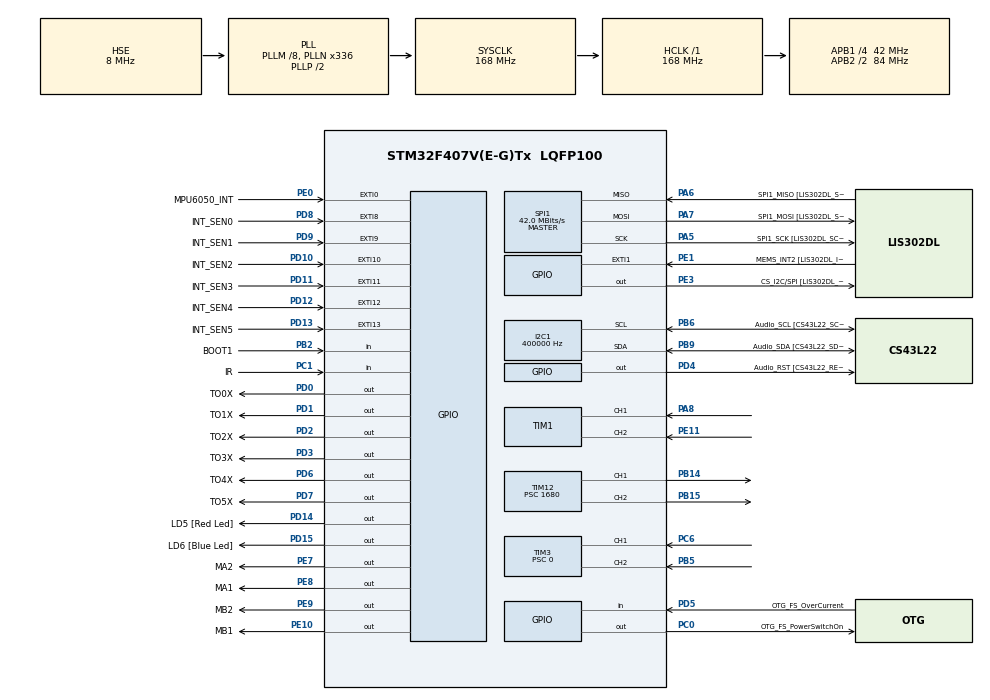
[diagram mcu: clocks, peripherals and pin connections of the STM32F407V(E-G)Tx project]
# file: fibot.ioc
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I2C1.ClockSpeed=400000
I2C1.I2C_Mode=I2C_Fast
Mcu.Family=STM32F4
Mcu.Name=STM32F407V(E-G)Tx
Mcu.Package=LQFP100
NVIC.EXTI0_IRQn=true\:0\:0\:true\:false\:true\:true\:true\:true
NVIC.EXTI15_10_IRQn=true\:0\:0\:false\:false\:true\:true\:true\:true
NVIC.EXTI9_5_IRQn=true\:0\:0\:false\:false\:true\:true\:true\:true
NVIC.PriorityGroup=NVIC_PRIORITYGROUP_0
PA1.Signal=S_TIM2_CH2
PA10.GPIO_Label=OTG_FS_ID
PA10.GPIO_Mode=GPIO_MODE_AF_PP
PA10.GPIO_PuPd=GPIO_NOPULL
PA10.GPIO_Speed=GPIO_SPEED_FREQ_LOW
PA10.Signal=USB_OTG_FS_ID
PA11.GPIO_Label=OTG_FS_DM
PA11.GPIO_Mode=GPIO_MODE_AF_PP
PA11.GPIO_PuPd=GPIO_NOPULL
PA11.GPIO_Speed=GPIO_SPEED_FREQ_LOW
PA11.Signal=USB_OTG_FS_DM
PA12.GPIO_Label=OTG_FS_DP
PA12.GPIO_Mode=GPIO_MODE_AF_PP
PA12.GPIO_PuPd=GPIO_NOPULL
PA12.GPIO_Speed=GPIO_SPEED_FREQ_LOW
PA12.Signal=USB_OTG_FS_DP
PA13.GPIO_Label=SWDIO
PA13.Mode=Serial_Wire
PA13.Signal=SYS_JTMS-SWDIO
PA14.GPIO_Label=SWCLK
PA14.Mode=Serial_Wire
PA14.Signal=SYS_JTCK-SWCLK
PA15.Signal=S_TIM2_CH1_ETR
PA4.GPIO_Label=I2S3_WS [CS43L22_LRCK]
PA4.GPIO_Mode=GPIO_MODE_AF_PP
PA4.GPIO_PuPd=GPIO_NOPULL
PA4.GPIO_Speed=GPIO_SPEED_FREQ_LOW
PA4.Signal=I2S3_WS
PA5.GPIO_Label=SPI1_SCK [LIS302DL_SCL/SPC]
PA5.GPIO_Mode=GPIO_MODE_AF_PP
PA5.GPIO_PuPd=GPIO_NOPULL
PA5.GPIO_Speed=GPIO_SPEED_FREQ_LOW
PA5.Mode=Full_Duplex_Master
PA5.Signal=SPI1_SCK
PA6.GPIO_Label=SPI1_MISO [LIS302DL_SDO]
PA6.GPIO_Mode=GPIO_MODE_AF_PP
PA6.GPIO_PuPd=GPIO_NOPULL
PA6.GPIO_Speed=GPIO_SPEED_FREQ_LOW
PA6.Mode=Full_Duplex_Master
PA6.Signal=SPI1_MISO
PA7.GPIO_Label=SPI1_MOSI [LIS302DL_SDA/SDI/SDO]
PA7.GPIO_Mode=GPIO_MODE_AF_PP
PA7.GPIO_PuPd=GPIO_NOPULL
PA7.GPIO_Speed=GPIO_SPEED_FREQ_LOW
PA7.Mode=Full_Duplex_Master
PA7.Signal=SPI1_MOSI
PA8.Signal=S_TIM1_CH1
PA9.GPIO_Label=VBUS_FS
PA9.GPIO_Mode=GPIO_MODE_INPUT
PA9.GPIO_PuPd=GPIO_NOPULL
PA9.Signal=USB_OTG_FS_VBUS
PB0.Signal=S_TIM3_CH3
PB1.Signal=S_TIM3_CH4
PB10.GPIO_Label=CLK_IN [MP45DT02_CLK]
PB10.GPIO_Mode=GPIO_MODE_AF_PP
PB10.GPIO_PuPd=GPIO_NOPULL
PB10.GPIO_Speed=GPIO_SPEED_FREQ_LOW
PB10.Signal=I2S2_CK
PB14.Signal=S_TIM12_CH1
PB15.Signal=S_TIM12_CH2
PB2.GPIO_Label=BOOT1
PB2.GPIO_Mode=GPIO_MODE_INPUT
PB2.GPIO_PuPd=GPIO_NOPULL
PB2.Signal=GPIO_Input
PB3.GPIO_Label=SWO
PB3.Signal=SYS_JTDO-SWO
PB5.Signal=S_TIM3_CH2
PB6.GPIO_Label=Audio_SCL [CS43L22_SCL]
PB6.GPIO_Mode=GPIO_MODE_AF_OD
PB6.GPIO_Pu=GPIO_PULLUP
PB6.GPIO_PuPd=GPIO_NOPULL
PB6.GPIO_Speed=GPIO_SPEED_FREQ_LOW
PB6.Mode=I2C
PB6.Signal=I2C1_SCL
PB9.GPIO_Label=Audio_SDA [CS43L22_SDA]
PB9.GPIO_Mode=GPIO_MODE_AF_OD
PB9.GPIO_Pu=GPIO_PULLUP
PB9.GPIO_PuPd=GPIO_NOPULL
PB9.GPIO_Speed=GPIO_SPEED_FREQ_LOW
PB9.Mode=I2C
PB9.Signal=I2C1_SDA
PC0.GPIO_Label=OTG_FS_PowerSwitchOn
PC0.GPIO_PuPd=GPIO_NOPULL
PC0.GPIO_Speed=GPIO_SPEED_FREQ_LOW
PC0.PinState=GPIO_PIN_SET
PC0.Signal=GPIO_Output
PC1.GPIO_Label=IR
PC1.Signal=GPIO_Input
PC10.GPIO_Label=I2S3_SCK [CS43L22_SCLK]
PC10.GPIO_Mode=GPIO_MODE_AF_PP
PC10.GPIO_PuPd=GPIO_NOPULL
PC10.GPIO_Speed=GPIO_SPEED_FREQ_LOW
PC10.Signal=I2S3_CK
PC12.GPIO_Label=I2S3_SD [CS43L22_SDIN]
PC12.GPIO_Mode=GPIO_MODE_AF_PP
PC12.GPIO_PuPd=GPIO_NOPULL
PC12.GPIO_Speed=GPIO_SPEED_FREQ_LOW
PC12.Signal=I2S3_SD
PC14-OSC32_IN.GPIO_Label=PC14-OSC32_IN
PC14-OSC32_IN.Signal=RCC_OSC32_IN
PC15-OSC32_OUT.GPIO_Label=PC15-OSC32_OUT
PC15-OSC32_OUT.Signal=RCC_OSC32_OUT
PC3.GPIO_Label=PDM_OUT [MP45DT02_DOUT]
PC3.GPIO_Mode=GPIO_MODE_AF_PP
PC3.GPIO_PuPd=GPIO_NOPULL
PC3.GPIO_Speed=GPIO_SPEED_FREQ_LOW
PC3.Signal=I2S2_SD
PC6.Signal=S_TIM3_CH1
PC7.GPIO_Label=I2S3_MCK [CS43L22_MCLK]
PC7.GPIO_Mode=GPIO_MODE_AF_PP
PC7.GPIO_PuPd=GPIO_NOPULL
PC7.GPIO_Speed=GPIO_SPEED_FREQ_LOW
PC7.Signal=I2S3_MCK
PD0.GPIO_Label=TO0X
PD0.GPIO_ModeDefaultOutputPP=GPIO_MODE_OUTPUT_OD
PD0.GPIO_PuPd=GPIO_NOPULL
PD0.PinState=GPIO_PIN_RESET
PD0.Signal=GPIO_Output
PD1.GPIO_Label=TO1X
PD1.GPIO_ModeDefaultOutputPP=GPIO_MODE_OUTPUT_OD
PD1.GPIO_PuPd=GPIO_NOPULL
PD1.PinState=GPIO_PIN_RESET
PD1.Signal=GPIO_Output
PD10.GPIO_Label=INT_SEN2
PD10.GPIO_ModeDefaultEXTI=GPIO_MODE_IT_FALLING
PD10.GPIO_PuPd=GPIO_PULLUP
PD10.Signal=GPXTI10
PD11.GPIO_Label=INT_SEN3
PD11.GPIO_ModeDefaultEXTI=GPIO_MODE_IT_FALLING
PD11.GPIO_PuPd=GPIO_PULLUP
PD11.Signal=GPXTI11
PD12.GPIO_Label=INT_SEN4
PD12.GPIO_ModeDefaultEXTI=GPIO_MODE_IT_FALLING
PD12.GPIO_PuPd=GPIO_PULLUP
PD12.Signal=GPXTI12
PD13.GPIO_Label=INT_SEN5
PD13.GPIO_ModeDefaultEXTI=GPIO_MODE_IT_FALLING
PD13.GPIO_PuPd=GPIO_PULLUP
PD13.Signal=GPXTI13
PD14.GPIO_Label=LD5 [Red Led]
PD14.GPIO_PuPd=GPIO_NOPULL
PD14.GPIO_Speed=GPIO_SPEED_FREQ_LOW
PD14.Signal=GPIO_Output
PD15.GPIO_Label=LD6 [Blue Led]
PD15.GPIO_PuPd=GPIO_NOPULL
PD15.GPIO_Speed=GPIO_SPEED_FREQ_LOW
PD15.Signal=GPIO_Output
PD2.GPIO_Label=TO2X
PD2.GPIO_ModeDefaultOutputPP=GPIO_MODE_OUTPUT_OD
PD2.GPIO_PuPd=GPIO_NOPULL
PD2.PinState=GPIO_PIN_RESET
PD2.Signal=GPIO_Output
PD3.GPIO_Label=TO3X
PD3.GPIO_ModeDefaultOutputPP=GPIO_MODE_OUTPUT_OD
PD3.GPIO_PuPd=GPIO_NOPULL
PD3.PinState=GPIO_PIN_RESET
PD3.Signal=GPIO_Output
PD4.GPIO_Label=Audio_RST [CS43L22_RESET]
PD4.GPIO_PuPd=GPIO_NOPULL
PD4.GPIO_Speed=GPIO_SPEED_FREQ_LOW
PD4.Signal=GPIO_Output
PD5.GPIO_Label=OTG_FS_OverCurrent
PD5.GPIO_Mode=GPIO_MODE_INPUT
PD5.GPIO_PuPd=GPIO_NOPULL
PD5.Signal=GPIO_Input
PD6.GPIO_Label=TO4X
PD6.GPIO_ModeDefaultOutputPP=GPIO_MODE_OUTPUT_OD
PD6.GPIO_PuPd=GPIO_NOPULL
PD6.PinState=GPIO_PIN_RESET
PD6.Signal=GPIO_Output
PD7.GPIO_Label=TO5X
PD7.GPIO_ModeDefaultOutputPP=GPIO_MODE_OUTPUT_OD
PD7.GPIO_PuPd=GPIO_NOPULL
PD7.PinState=GPIO_PIN_RESET
PD7.Signal=GPIO_Output
PD8.GPIO_Label=INT_SEN0
PD8.GPIO_ModeDefaultEXTI=GPIO_MODE_IT_FALLING
PD8.GPIO_PuPd=GPIO_PULLUP
PD8.Signal=GPXTI8
PD9.GPIO_Label=INT_SEN1
PD9.GPIO_ModeDefaultEXTI=GPIO_MODE_IT_FALLING
PD9.GPIO_PuPd=GPIO_PULLUP
PD9.Signal=GPXTI9
PE0.GPIO_Label=MPU6050_INT
PE0.GPIO_ModeDefaultEXTI=GPIO_MODE_IT_FALLING
PE0.GPIO_PuPd=GPIO_PULLUP
PE0.Signal=GPXTI0
PE1.GPIO_Label=MEMS_INT2 [LIS302DL_INT2]
PE1.GPIO_ModeDefaultEXTI=GPIO_MODE_EVT_RISING
PE1.GPIO_PuPd=GPIO_NOPULL
PE1.Signal=GPXTI1
PE10.GPIO_Label=MB1
PE10.Signal=GPIO_Output
PE11.Signal=S_TIM1_CH2
PE3.GPIO_Label=CS_I2C/SPI [LIS302DL_CS_I2C/SPI]
PE3.GPIO_PuPd=GPIO_NOPULL
PE3.GPIO_Speed=GPIO_SPEED_FREQ_LOW
PE3.Signal=GPIO_Output
PE7.GPIO_Label=MA2
PE7.Signal=GPIO_Output
PE8.GPIO_Label=MA1
PE8.Signal=GPIO_Output
PE9.GPIO_Label=MB2
PE9.Signal=GPIO_Output
PH0-OSC_IN.GPIO_Label=PH0-OSC_IN
PH0-OSC_IN.Mode=HSE-External-Oscillator
PH0-OSC_IN.Signal=RCC_OSC_IN
PH1-OSC_OUT.GPIO_Label=PH1-OSC_OUT
PH1-OSC_OUT.Mode=HSE-External-Oscillator
PH1-OSC_OUT.Signal=RCC_OSC_OUT
ProjectManager.HeapSize=0x200
ProjectManager.StackSize=0x400
ProjectManager.TargetToolchain=Makefile
RCC.48MHZClocksFreq_Value=48000000
RCC.AHBFreq_Value=168000000
RCC.APB1CLKDivider=RCC_HCLK_DIV4
RCC.APB1Freq_Value=42000000
RCC.APB1TimFreq_Value=84000000
RCC.APB2CLKDivider=RCC_HCLK_DIV2
RCC.APB2Freq_Value=84000000
RCC.APB2TimFreq_Value=168000000
RCC.CortexFreq_Value=168000000
RCC.HCLKFreq_Value=168000000
RCC.HSE_VALUE=8000000
RCC.HSI_VALUE=16000000
RCC.LSE_VALUE=32768
RCC.PLLM=8
RCC.PLLN=336
RCC.PLLQ=7
RCC.PLLSourceVirtual=RCC_PLLSOURCE_HSE
RCC.SYSCLKFreq_VALUE=168000000
RCC.SYSCLKSource=RCC_SYSCLKSOURCE_PLLCLK
RCC.VCOOutputFreq_Value=336000000
SH.S_TIM12_CH1.0=TIM12_CH1,PWM Generation1 CH1
SH.S_TIM12_CH2.0=TIM12_CH2,PWM Generation2 CH2
SH.S_TIM1_CH1.0=TIM1_CH1,Encoder_Interface
SH.S_TIM1_CH2.0=TIM1_CH2,Encoder_Interface
SH.S_TIM2_CH1_ETR.0=TIM2_CH1
SH.S_TIM2_CH2.0=TIM2_CH2
SH.S_TIM3_CH1.0=TIM3_CH1,Encoder_Interface
SH.S_TIM3_CH2.0=TIM3_CH2,Encoder_Interface
SH.S_TIM3_CH3.0=TIM3_CH3
SH.S_TIM3_CH4.0=TIM3_CH4
SPI1.BaudRatePrescaler=SPI_BAUDRATEPRESCALER_2
SPI1.BaudRatePrescaler-Full_Duplex_Master=SPI_BAUDRATEPRESCALER_2
SPI1.CalculateBaudRate=42.0 MBits/s
SPI1.CalculateBaudRate-Full_Duplex_Master=42.0 MBits/s
SPI1.Direction=SPI_DIRECTION_2LINES
SPI1.Mode=SPI_MODE_MASTER
SPI1.Mode-Full_Duplex_Master=SPI_MODE_MASTER
SPI1.VirtualType=VM_MASTER
TIM1.AutoReloadPreload=TIM_AUTORELOAD_PRELOAD_ENABLE
TIM1.EncoderMode=TIM_ENCODERMODE_TI12
TIM1.IC1Filter=10
TIM1.IC2Filter=10
TIM12.AutoReloadPreload=TIM_AUTORELOAD_PRELOAD_ENABLE
TIM12.Channel-PWM\ Generation1\ CH1=TIM_CHANNEL_1
TIM12.Channel-PWM\ Generation2\ CH2=TIM_CHANNEL_2
TIM12.ClockDivision=TIM_CLOCKDIVISION_DIV4
TIM12.Period=100
TIM12.Prescaler=1680
TIM3.AutoReloadPreload=TIM_AUTORELOAD_PRELOAD_ENABLE
TIM3.ClockDivision=TIM_CLOCKDIVISION_DIV1
TIM3.EncoderMode=TIM_ENCODERMODE_TI12
TIM3.IC1Filter=10
TIM3.IC2Filter=10
TIM3.Period=65535
TIM3.Prescaler=0
VP_TIM12_VS_ClockSourceINT.Mode=Internal
board=STM32F407G-DISC1

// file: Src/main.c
/* USER CODE BEGIN Header */
/**
  ******************************************************************************
  * @file           : main.c
  * @brief          : Main program body
  ******************************************************************************
  * @attention
  *
  * Copyright (c) 2023 STMicroelectronics.
  * All rights reserved.
  *
  * This software is licensed under terms that can be found in the LICENSE file
  * in the root directory of this software component.
  * If no LICENSE file comes with this software, it is provided AS-IS.
  *
  ******************************************************************************
  */
/* USER CODE END Header */
#include "main.h"
#include "i2c.h"
#include "spi.h"
#include "tim.h"
#include "gpio.h"

/* USER CODE BEGIN Includes */
#include "mpu6050.h"
#include <math.h>

/* USER CODE END Includes */

void SystemClock_Config(void);

/* USER CODE BEGIN 0 */

VL53L0X_Error WaitMeasurementDataReady(VL53L0X_DEV Dev) {
    VL53L0X_Error Status = VL53L0X_ERROR_NONE;
    uint8_t NewDatReady=0;
    uint32_t LoopNb;

    // Wait until it finished
    // use timeout to avoid deadlock
    if (Status == VL53L0X_ERROR_NONE) {
        LoopNb = 0;
        do {
            Status = VL53L0X_GetMeasurementDataReady(Dev, &NewDatReady);
            if ((NewDatReady == 0x01) || Status != VL53L0X_ERROR_NONE) {
                break;
            }
            LoopNb = LoopNb + 1;
            VL53L0X_PollingDelay(Dev);
        } while (LoopNb < VL53L0X_DEFAULT_MAX_LOOP);

        if (LoopNb >= VL53L0X_DEFAULT_MAX_LOOP) {
            Status = VL53L0X_ERROR_TIME_OUT;
        }
    }

    return Status;
}

VL53L0X_Error WaitStopCompleted(VL53L0X_DEV Dev) {
    VL53L0X_Error Status = VL53L0X_ERROR_NONE;
    uint32_t StopCompleted=0;
    uint32_t LoopNb;

    // Wait until it finished
    // use timeout to avoid deadlock
    if (Status == VL53L0X_ERROR_NONE) {
        LoopNb = 0;
        do {
            Status = VL53L0X_GetStopCompletedStatus(Dev, &StopCompleted);
            if ((StopCompleted == 0x00) || Status != VL53L0X_ERROR_NONE) {
                break;
            }
            LoopNb = LoopNb + 1;
            VL53L0X_PollingDelay(Dev);
        } while (LoopNb < VL53L0X_DEFAULT_MAX_LOOP);

        if (LoopNb >= VL53L0X_DEFAULT_MAX_LOOP) {
            Status = VL53L0X_ERROR_TIME_OUT;
        }

    }

    return Status;
}

void tofHighSpeedProfile(VL53L0X_Dev_t *dev)
{
	VL53L0X_Error Status;
	Status = VL53L0X_SetLimitCheckValue(dev,
	VL53L0X_CHECKENABLE_SIGNAL_RATE_FINAL_RANGE,
	(FixPoint1616_t)(0.25*65536));
	assert_param(Status == VL53L0X_ERROR_NONE);

	Status = VL53L0X_SetLimitCheckValue(dev,
	VL53L0X_CHECKENABLE_SIGMA_FINAL_RANGE,
	(FixPoint1616_t)(32*65536));
	assert_param(Status == VL53L0X_ERROR_NONE);

	Status = VL53L0X_SetMeasurementTimingBudgetMicroSeconds(dev, 20000);
	assert_param(Status == VL53L0X_ERROR_NONE);
}

VL53L0X_Error tof_setup_start(VL53L0X_Dev_t *dev, VL53L0X_DeviceModes mode)
{
    uint8_t VhvSettings;
    uint8_t PhaseCal;
    uint32_t refSpadCount;
    uint8_t isApertureSpads;

	VL53L0X_DeviceInfo_t info;
	uint16_t vl53l0x_id;
	VL53L0X_Error Status = VL53L0X_ERROR_NONE;

	assert_param(HAL_I2C_IsDeviceReady(&hi2c1, dev->I2cDevAddr, 2, 2) == HAL_OK);

	Status = VL53L0X_GetDeviceInfo(dev, &info);
    assert_param(Status == VL53L0X_ERROR_NONE);

	Status = VL53L0X_RdWord(dev, VL53L0X_REG_IDENTIFICATION_MODEL_ID, (uint16_t *) &vl53l0x_id);
    assert_param(Status == VL53L0X_ERROR_NONE);
    assert_param(vl53l0x_id == 0xEEAA);

	Status = VL53L0X_DataInit(dev);
	assert_param(Status == VL53L0X_ERROR_NONE);

	// StaticInit will set interrupt by default
	Status = VL53L0X_StaticInit(dev); // Device Initialization
    assert_param(Status == VL53L0X_ERROR_NONE);

	Status = VL53L0X_PerformRefCalibration(dev,
			&VhvSettings, &PhaseCal);
    assert_param(Status == VL53L0X_ERROR_NONE);

	Status = VL53L0X_PerformRefSpadManagement(dev,
			&refSpadCount, &isApertureSpads);
    assert_param(Status == VL53L0X_ERROR_NONE);

	Status = VL53L0X_SetDeviceMode(dev, mode); // Setup in single ranging mode
    assert_param(Status == VL53L0X_ERROR_NONE);

	//tofHighSpeedProfile(dev);

	Status = VL53L0X_StartMeasurement(dev);
    assert_param(Status == VL53L0X_ERROR_NONE);
}

void tof_getData(VL53L0X_Dev_t *dev, VL53L0X_RangingMeasurementData_t   *data)
{
	VL53L0X_Error Status = VL53L0X_GetRangingMeasurementData(dev, data);
	assert_param(Status == VL53L0X_ERROR_NONE);

	// Clear the interrupt
	VL53L0X_ClearInterruptMask(dev, VL53L0X_REG_SYSTEM_INTERRUPT_GPIO_NEW_SAMPLE_READY);
}

void wait_getData(VL53L0X_Dev_t *dev, VL53L0X_RangingMeasurementData_t   *data) {
    VL53L0X_Error Status = WaitMeasurementDataReady(dev);
	assert_param(Status == VL53L0X_ERROR_NONE);

	tof_getData(dev, data);
}

VL53L0X_Error rangingTest(VL53L0X_Dev_t *dev)
{
    VL53L0X_RangingMeasurementData_t    data;
    VL53L0X_Error Status = VL53L0X_ERROR_NONE;

	tof_setup_start(dev, VL53L0X_DEVICEMODE_CONTINUOUS_RANGING);

	while (1) {
		wait_getData(dev, &data);
		VL53L0X_PollingDelay(dev);
		HAL_Delay(100);
	}

	Status = VL53L0X_StopMeasurement(dev);
	assert_param(Status == VL53L0X_ERROR_NONE);

	Status = WaitStopCompleted(dev);
	assert_param(Status == VL53L0X_ERROR_NONE);

	Status = VL53L0X_ClearInterruptMask(dev,
			VL53L0X_REG_SYSTEM_INTERRUPT_GPIO_NEW_SAMPLE_READY);
	assert_param(Status == VL53L0X_ERROR_NONE);

	return Status;
}

/*
1 0x52
2 0x54
3 0x56
4 0x58
5 0x5A
6 0x5C
*/

const uint16_t tofXpin[] = {
	TO0X_Pin,
	TO1X_Pin,
	TO2X_Pin,
	TO3X_Pin,
	TO4X_Pin,
	TO5X_Pin
};

const GPIO_TypeDef * tofXport[] = {
	TO0X_GPIO_Port,
	TO1X_GPIO_Port,
	TO2X_GPIO_Port,
	TO3X_GPIO_Port,
	TO4X_GPIO_Port,
	TO5X_GPIO_Port
};

const uint8_t addrs[] = {
	0x52,
	0x54,
	0x56,
	0x58,
	0x5A,
	0x5C
};

VL53L0X_Dev_t devs[] = {
	{.I2cDevAddr = addrs[0], .hi2c = &hi2c1},
	{.I2cDevAddr = addrs[1], .hi2c = &hi2c1},
	{.I2cDevAddr = addrs[2], .hi2c = &hi2c1},
	{.I2cDevAddr = addrs[3], .hi2c = &hi2c1},
	{.I2cDevAddr = addrs[4], .hi2c = &hi2c1},
	{.I2cDevAddr = addrs[5], .hi2c = &hi2c1},
};

int tof_AllInitialized = 0;
VL53L0X_RangingMeasurementData_t tofmeasr[6];

void tofArraySetup()
{
	VL53L0X_Dev_t dev = {
		.I2cDevAddr = addrs[0],
		.hi2c = &hi2c1
	};
	VL53L0X_Error Status;
	for (int i=5; i>=0; i--) {
		HAL_GPIO_WritePin(tofXport[i], tofXpin[i], 1);
		HAL_Delay(2);

		Status = VL53L0X_DataInit(&dev);
		//assert_param(Status == VL53L0X_ERROR_NONE);

		Status = VL53L0X_SetDeviceAddress(&dev, addrs[i]);
		//assert_param(Status == VL53L0X_ERROR_NONE);
	}

	// confirm setup
	for (int i=0; i<6; i++)	{
		assert_param(HAL_I2C_IsDeviceReady(&hi2c1, addrs[i], 2, 2) == HAL_OK);
	}
	for (int i=0; i<6; i++)	{
		VL53L0X_PollingDelay(&devs[i]);
		tof_setup_start(&devs[i], VL53L0X_DEVICEMODE_CONTINUOUS_RANGING);
	}
	tof_AllInitialized = 1;
	for (int i=0; i<6; i++) {
		VL53L0X_ClearInterruptMask(&devs[i], VL53L0X_REG_SYSTEM_INTERRUPT_GPIO_NEW_SAMPLE_READY);
		devs[i].isInitialized = 1;
	}

}

MPU6050_t mpu;
int isMpuInit = 0;
void MPU6050_test()
{
	while(MPU6050_Init(&hi2c1) == 1);
	MPU6050_EnInt(&hi2c1);
	isMpuInit = 1;
	// while(1) {
	// 	HAL_Delay(50);
	// }
}

#define PWM_MAX (80)
#define LIMIT_OUTPUT_TO(x, max) \
	(x > max)?   max:	\
	(x < -max)? -max:	\
	x
#define LIMIT_OUTPUT(x) \
	(x > PWM_MAX)?   PWM_MAX:	\
	(x < -PWM_MAX)? -PWM_MAX:	\
	x
void M1change(int32_t speed)
{
	assert_param(speed <= PWM_MAX && speed >= -PWM_MAX); // TODO: change to constant symbol
	// if (abs(speed)<PWM_MAX/25) speed = 0;
	HAL_GPIO_WritePin(MA1_GPIO_Port, MA1_Pin, speed < 0);
	HAL_GPIO_WritePin(MB1_GPIO_Port, MB1_Pin, speed > 0);

	__HAL_TIM_SET_COMPARE(&htim12, TIM_CHANNEL_1, abs(speed));
}

void M2change(int32_t speed)
{
	assert_param(speed <= PWM_MAX && speed >= -PWM_MAX); // TODO: change to constant symbol
	// if (abs(speed)<PWM_MAX/25) speed = 0;
	HAL_GPIO_WritePin(MA2_GPIO_Port, MA2_Pin, speed < 0);
	HAL_GPIO_WritePin(MB2_GPIO_Port, MB2_Pin, speed > 0);

	__HAL_TIM_SET_COMPARE(&htim12, TIM_CHANNEL_2, abs(speed));
}

void M1_accel(double pwm)
{
	static double speed;
	speed += pwm;
	if (speed > PWM_MAX) speed = PWM_MAX;
	else if (speed < -PWM_MAX) speed = -PWM_MAX;
	M1change(speed);
}
void M2_accel(double pwm)
{
	static double speed;
	speed += pwm;
	if (speed > PWM_MAX) speed = PWM_MAX;
	else if (speed < -PWM_MAX) speed = -PWM_MAX;
	M2change(speed);
}

void test_motors()
{
	while(1) {
		int16_t v10 = (TIM1->CNT);
		int16_t v20 = (TIM3->CNT);
		M1change(-PWM_MAX);
		M2change(-PWM_MAX);
		HAL_Delay(2000);
		M1change(-PWM_MAX/2);
		M2change(-PWM_MAX/2);
		HAL_Delay(2000);
		M1change(0);
		M2change(0);
		HAL_Delay(2000);
		M1change(PWM_MAX/2);
		M2change(PWM_MAX/2);
		HAL_Delay(2000);
		M1change(PWM_MAX);
		M2change(PWM_MAX);
		HAL_Delay(2000);
	}
}

void i2cscan() {
	int r;
	for (int i=1; i<127; i++) {
		r = HAL_I2C_IsDeviceReady(&hi2c1, (uint16_t)(i<<1), 2, 2);
		HAL_Delay(5);
	}
}

#define EN1_RESET() {TIM1->CNT = 0; M1err = 0;}
#define EN2_RESET() {TIM3->CNT = 0; M2err = 0;}
#define ENPOSM1() ((int16_t)(TIM1->CNT))
#define ENPOSM2() ((int16_t)(TIM3->CNT))
#define M_KP 7.0
#define M_KD 10.0
#define M_KI 0.000000
#define M_thrsh (25.0) // mm
#define M_isCompleted(err) (abs(err) < M_thrsh)
double M1err = 0;
double M2err = 0;
#define MS_isCompleted() M_isCompleted(M1err) && M_isCompleted(M2err)

double M1_pid(double expos) { // return speed
	static double i;
	double pos = ENPOSM1();

	double err = expos - pos;
	double PID = M_KP*err + M_KD*(err - M1err) + M_KI*i;

	M1err = err;
	i += err;

	return LIMIT_OUTPUT(PID);
}

double M2_pid(double expos) { // return speed
	static double err0, i;
	double pos = ENPOSM2();

	double err = expos - pos;
	double PID = M_KP*err + M_KD*(err - M1err) + M_KI*i;

	M1err = err;
	i += err;

	return LIMIT_OUTPUT(PID);
}

void Ms_smooth_corners() {
	// M1change(PWM_MAX/4)	;
	// M2change(PWM_MAX/4)	;
	// HAL_Delay(500);
	M1change(PWM_MAX/4+PWM_MAX/8);
	M2change(PWM_MAX/4-PWM_MAX/8);
	HAL_Delay(1000);
	// M1change(PWM_MAX/4)	;
	// M2change(PWM_MAX/4)	;
	// HAL_Delay(500);
	M1change(0)	;
	M2change(0)	;
	while(1);
}

#define en_per_cm ((5000.0/0.640)/100.0) // cm
#define center2wheelcenter (10.9/2.0)
#define circumPath (center2wheelcenter*2.0*M_PI)

double cm2en(double cm)
{
	return cm*en_per_cm;
}
double en2cm(double en)
{
	return en/en_per_cm;
}

void Mrotate(double degree, uint16_t pwm_limit)
{
	EN1_RESET();
	EN2_RESET();
	double radian =2*M_PI *degree/360.0;
	double path = center2wheelcenter*radian;
	int16_t en = (int16_t)cm2en(path);
	while(1) {
		double m1 = LIMIT_OUTPUT(M1_pid(en)/PWM_MAX*pwm_limit);
		double m2 = LIMIT_OUTPUT(M2_pid(-en)/PWM_MAX*pwm_limit);
		M1change(m1);
		M2change(m2);
		if (MS_isCompleted()) {
			M1change(0);
			M2change(0);
			break;
		}
	}
}

void test_pid()
{
	while (1) {
		M1change(M1_pid(5000));
		M2change(M2_pid(5000));
	}
}

void tofArrayReadAll()
{
	for (int i=0; i<6; i++) {
		wait_getData(&devs[i], &tofmeasr[i]);
	}

}

void tofReadFronts()
{
	wait_getData(&devs[0], &tofmeasr[0]);
	wait_getData(&devs[5], &tofmeasr[5]);
}
void tofReadSides()
{
	wait_getData(&devs[2], &tofmeasr[2]);
	wait_getData(&devs[3], &tofmeasr[3]);
}

#define RANGE2() (tofmeasr[0].RangeMilliMeter)
#define RANGE1() (tofmeasr[5].RangeMilliMeter)
#define R_KP (1.5)
#define R_KD (1.0)
#define R_KI (0.000000)
#define R_OFFS (40.0)  // mm
#define R_thrsh (10.0) // mm
#define R_OUTPUT_LIMIT (PWM_MAX*0.5)
double R1err = 0;
double R2err = 0;
#define R_isCompleted(err) (abs(err) < R_thrsh)
#define RS_isCompleted() (R_isCompleted(R1err) && R_isCompleted(R2err))

double R1_pid(double exrange) { // return speed
	static double i;
	double pos = RANGE1();

	double err = exrange - pos;
	double PID = R_KP*err + R_KD*(err - R1err) + R_KI*i;
	PID = -PID;

	R1err = err;
	i += err;

	return LIMIT_OUTPUT_TO(PID, R_OUTPUT_LIMIT);
}
double R2_pid(double exrange) { // return speed
	static double i;
	double pos = RANGE2();

	double err = exrange - pos;
	double PID = R_KP*err + R_KD*(err - R2err) + R_KI*i;
	PID = -PID;

	R2err = err;
	i += err;

	return LIMIT_OUTPUT_TO(PID, R_OUTPUT_LIMIT);
}

#define RT_KP (0.4)
#define RT_KD (0.6)
#define RT_KI (0.000000)
double RightTrack_pid(double exrange) { // return speed
	static double err0, i;
	double pos = (tofmeasr[4].RangeMilliMeter);

	double err = exrange - pos;
	double PID = RT_KP*err + RT_KD*(err - err0) + RT_KI*i;
	PID = -PID;

	err0 = err;
	i += err;

	return LIMIT_OUTPUT(PID);
}

void front_calib_blocking()
{
	while(1) {
		M1change(R1_pid(100.0+R_OFFS));
		M2change(R2_pid(100.0+R_OFFS));
		if (RS_isCompleted()) {
			M1change(0);
			M2change(0);
			break;
		}
	}
}

void sumo()
{
	while(1) {
		M1change(R1_pid(-100));
		M2change(R2_pid(-100));
	}
}

void turn180(int side)
{
	if (side) // == left
	{
		turnLeft();
		front_calib_blocking();
		turnLeft();
	}
	else  // == right
	{
		turnRight();
		front_calib_blocking();
		turnRight();
	}
}

volatile uint32_t deltaT;

void turnLeft()
{
	Mrotate(90, PWM_MAX);
}
void turnRight()
{
	Mrotate(-90, PWM_MAX);
}
#define FORW_SPEED (PWM_MAX/8)
enum STATES {
	POST_DETECTED = 0,
	FRONT_WALL_DETECTED
};
int run_straight() {
	while (1) {
		if ((tofmeasr[0].RangeMilliMeter+tofmeasr[5].RangeMilliMeter)/2 <= 200+R_OFFS) {// TODO: constant name
			M1change(0);
			M2change(0);
			return FRONT_WALL_DETECTED;
		}
		for (int i=0; i<3; i++) {
			if (tofmeasr[4].RangeMilliMeter >(250) ||
				tofmeasr[4].RangeStatus != 0) {
				M1change(0);
				M2change(0);
				if (i>1) return POST_DETECTED;
				else continue;
			}
			break;
		}

		double pwm, m1, m2;
		pwm = RightTrack_pid(tofmeasr[1].RangeMilliMeter);

		m1 = LIMIT_OUTPUT(-pwm+FORW_SPEED);
		m2 = LIMIT_OUTPUT(pwm+FORW_SPEED);
		M1change(m1);
		M2change(m2);
	}
}

void test_sensor()
{
	while (1)
	{
		// tofArrayReadAll();
		HAL_Delay(100);
	}
}

void MS_moveTo(uint16_t exrange)
{
	EN1_RESET();
	EN2_RESET();
	while(1) {
		M1change(0.4);
		M2change(0.4);
		if (tofmeasr[4].RangeMilliMeter <= exrange) {
			M1change(0);
			M2change(0);
			return;
		}
		if (MS_isCompleted()) {
			M1change(0);
			M2change(0);
			return;
		}
	}
}
#define DELAY() HAL_Delay(300)

/* USER CODE END 0 */

int main(void)
{

  /* MCU Configuration--------------------------------------------------------*/

  /* Reset of all peripherals, Initializes the Flash interface and the Systick. */
  HAL_Init();

  /* Configure the system clock */
  SystemClock_Config();

  /* Initialize all configured peripherals */
  MX_GPIO_Init();
  MX_I2C1_Init();
  MX_SPI1_Init();
  MX_TIM3_Init();
  MX_TIM1_Init();
  MX_TIM12_Init();
  /* USER CODE BEGIN 2 */
	__HAL_TIM_SET_COMPARE(&htim12, TIM_CHANNEL_1, 0);
	__HAL_TIM_SET_COMPARE(&htim12, TIM_CHANNEL_2, 0);
	HAL_TIM_PWM_Start(&htim12, TIM_CHANNEL_1);
	HAL_TIM_PWM_Start(&htim12, TIM_CHANNEL_2);
	HAL_TIM_Encoder_Start(&htim1, TIM_CHANNEL_ALL);
	HAL_TIM_Encoder_Start(&htim3, TIM_CHANNEL_ALL);

	tofArraySetup();
	//rangingTest(&devs[0]);
	// MPU6050_test();
	//test_pid();

	//test_motors();
	// Mrotate(180+20, PWM_MAX/2);
	// Mrotate(-90, PWM_MAX/2);
	// Mrotate(90, PWM_MAX/2);

	// M1change(PWM_MAX/4);
	// M2change(PWM_MAX/4);
	int ret;
	// test_sensor();
	//sumo();
  /* USER CODE END 2 */

  /* Infinite loop */
	while (1) {

    /* USER CODE BEGIN 3 */
		ret = run_straight();
		DELAY();
		if (ret == FRONT_WALL_DETECTED) {
			// while(1);
			front_calib_blocking();
			DELAY();
			if (tofmeasr[2].RangeMilliMeter > 300) {
				turnLeft();
				DELAY();
				continue;
			}
			turn180(tofmeasr[2].RangeMilliMeter > tofmeasr[3].RangeMilliMeter);
			DELAY();
			continue;
		} else if (ret == POST_DETECTED) {
			MS_moveTo(160);
			DELAY();
			if ((tofmeasr[0].RangeMilliMeter + tofmeasr[5].RangeMilliMeter)/2 < (100 + R_OFFS))
				if (abs(tofmeasr[0].RangeMilliMeter - tofmeasr[5].RangeMilliMeter) < 50)
					continue;
			turnRight();
			DELAY();
		}

		// run_straight();
		// while(1);

  	}
  /* USER CODE END 3 */
}

void SystemClock_Config(void)
{
  RCC_OscInitTypeDef RCC_OscInitStruct = {0};
  RCC_ClkInitTypeDef RCC_ClkInitStruct = {0};

  /** Configure the main internal regulator output voltage
  */
  __HAL_RCC_PWR_CLK_ENABLE();
  __HAL_PWR_VOLTAGESCALING_CONFIG(PWR_REGULATOR_VOLTAGE_SCALE1);

  /** Initializes the RCC Oscillators according to the specified parameters
  * in the RCC_OscInitTypeDef structure.
  */
  RCC_OscInitStruct.OscillatorType = RCC_OSCILLATORTYPE_HSE;
  RCC_OscInitStruct.HSEState = RCC_HSE_ON;
  RCC_OscInitStruct.PLL.PLLState = RCC_PLL_ON;
  RCC_OscInitStruct.PLL.PLLSource = RCC_PLLSOURCE_HSE;
  RCC_OscInitStruct.PLL.PLLM = 8;
  RCC_OscInitStruct.PLL.PLLN = 336;
  RCC_OscInitStruct.PLL.PLLP = RCC_PLLP_DIV2;
  RCC_OscInitStruct.PLL.PLLQ = 7;
  if (HAL_RCC_OscConfig(&RCC_OscInitStruct) != HAL_OK)
  {
    Error_Handler();
  }

  /** Initializes the CPU, AHB and APB buses clocks
  */
  RCC_ClkInitStruct.ClockType = RCC_CLOCKTYPE_HCLK|RCC_CLOCKTYPE_SYSCLK
                              |RCC_CLOCKTYPE_PCLK1|RCC_CLOCKTYPE_PCLK2;
  RCC_ClkInitStruct.SYSCLKSource = RCC_SYSCLKSOURCE_PLLCLK;
  RCC_ClkInitStruct.AHBCLKDivider = RCC_SYSCLK_DIV1;
  RCC_ClkInitStruct.APB1CLKDivider = RCC_HCLK_DIV4;
  RCC_ClkInitStruct.APB2CLKDivider = RCC_HCLK_DIV2;

  if (HAL_RCC_ClockConfig(&RCC_ClkInitStruct, FLASH_LATENCY_5) != HAL_OK)
  {
    Error_Handler();
  }
}

/* USER CODE BEGIN 4 */
const uint16_t INT_SEN_PINS[] = {
	INT_SEN0_Pin,
	INT_SEN1_Pin,
	INT_SEN2_Pin,
	INT_SEN3_Pin,
	INT_SEN4_Pin,
	INT_SEN5_Pin,
};
void HAL_GPIO_EXTI_Callback(uint16_t GPIO_Pin)
{
	static uint32_t tick;
	if (GPIO_Pin == MPU6050_INT_Pin) {
		return;
		if (isMpuInit) {
			MPU6050_Read_All(&hi2c1,&mpu);

		}
	}
	if (tof_AllInitialized) {
		for (int i=0; i<6; i++) {
			if (GPIO_Pin == INT_SEN_PINS[i]) {
				if (devs[i].isInitialized) {
					tof_getData(&devs[i], &tofmeasr[i]);
					if (i==1) {
						uint32_t tick0 = HAL_GetTick();
						deltaT = tick0 - tick;
						tick = tick0;
					}
				}
			}
		}
	}
}
/* USER CODE END 4 */

void Error_Handler(void)
{
  /* USER CODE BEGIN Error_Handler_Debug */
  /* User can add his own implementation to report the HAL error return state */
	HAL_GPIO_WritePin(LD5_GPIO_Port, LD5_Pin, 1);
	M1change(0);
	M2change(0);
	// HAL_NVIC_SystemReset();
  __disable_irq();
  while (1)
  {
  }
  /* USER CODE END Error_Handler_Debug */
}

#ifdef  USE_FULL_ASSERT
/**
  * @brief  Reports the name of the source file and the source line number
  *         where the assert_param error has occurred.
  * @param  file: pointer to the source file name
  * @param  line: assert_param error line source number
  * @retval None
  */
void assert_failed(uint8_t *file, uint32_t line)
{
  /* USER CODE BEGIN 6 */
  /* User can add his own implementation to report the file name and line number,
     ex: printf("Wrong parameters value: file %s on line %d\r\n", file, line) */
	//asm("BKPT 0");
	Error_Handler();
  /* USER CODE END 6 */
}
#endif /* USE_FULL_ASSERT */
